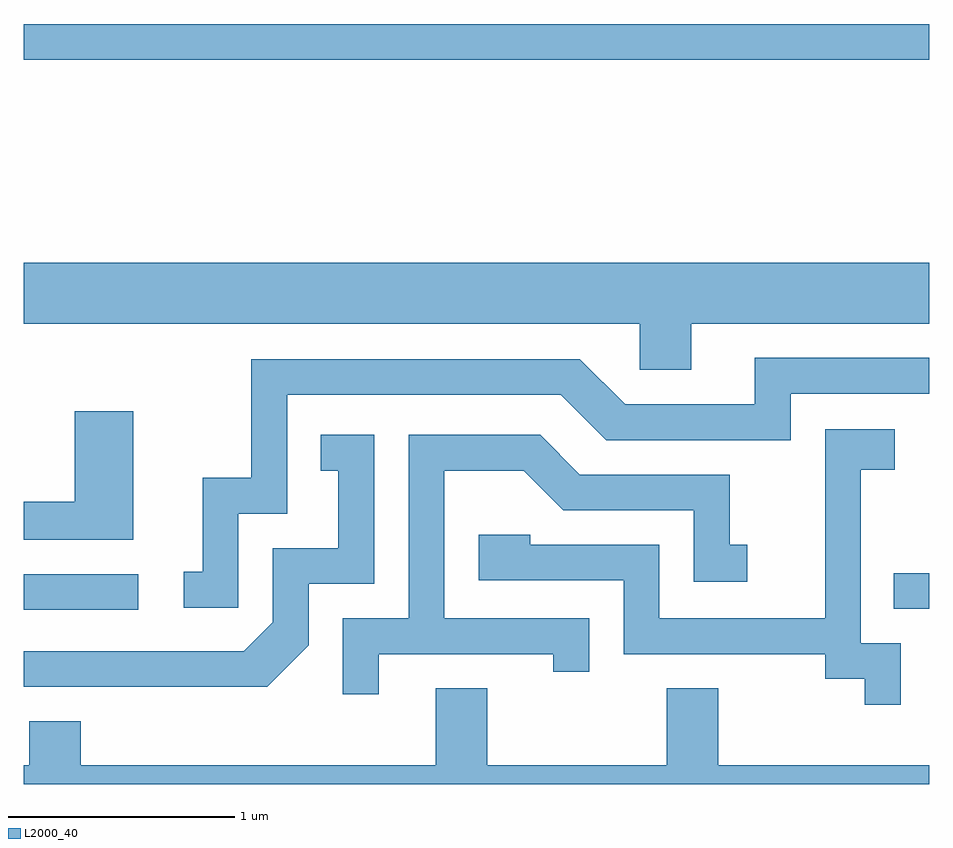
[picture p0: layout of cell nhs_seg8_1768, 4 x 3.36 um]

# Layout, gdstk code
import gdstk
lib = gdstk.Library(unit=1e-6, precision=1e-09)
def R(c, l, rs):  # rectangles x0, y0, x1, y1
    for r in rs: c.add(gdstk.rectangle(r[:2], r[2:], *l))
def P(c, l, *ps):  # polygons
    for p in ps: c.add(gdstk.Polygon(p, *l))
L2000_40 = (2000, 40)

nhs_seg8_1768 = lib.new_cell('nhs_seg8_1768')
R(nhs_seg8_1768, L2000_40, [(237.611,1875.111,238.118,1875.269), (241.453,1875.116,241.611,1875.274), (237.611,1877.541,241.611,1877.699)])
P(nhs_seg8_1768, L2000_40, [(240.559,1876.376),(241.611,1876.376),(241.611,1876.644),(237.611,1876.644),(237.611,1876.376),(240.331,1876.376),(240.331,1876.171),(240.559,1876.171)],
  [(238.559,1875.536),(238.774,1875.536),(238.774,1876.061),(239.984,1876.061),(240.184,1875.861),(240.999,1875.861),(240.999,1876.066),(241.611,1876.066),(241.611,1876.224),(240.841,1876.224),(240.841,1876.019),(240.267,1876.019),(240.067,1876.219),(238.616,1876.219),(238.616,1875.694),(238.401,1875.694),(238.401,1875.279),(238.318,1875.279),(238.318,1875.121),(238.559,1875.121)],
  [(238.094,1875.989),(237.836,1875.989),(237.836,1875.589),(237.611,1875.589),(237.611,1875.421),(238.094,1875.421)],
  [(241.484,1874.964),(241.309,1874.964),(241.309,1875.731),(241.459,1875.731),(241.459,1875.909),(241.151,1875.909),(241.151,1875.074),(240.419,1875.074),(240.419,1875.399),(239.849,1875.399),(239.849,1875.444),(239.621,1875.444),(239.621,1875.241),(240.261,1875.241),(240.261,1874.916),(241.151,1874.916),(241.151,1874.806),(241.326,1874.806),(241.326,1874.693),(241.484,1874.693)],
  [(239.179,1874.916),(239.951,1874.916),(239.951,1874.838),(240.109,1874.838),(240.109,1875.074),(239.469,1875.074),(239.469,1875.726),(239.819,1875.726),(239.994,1875.551),(240.571,1875.551),(240.571,1875.236),(240.808,1875.236),(240.808,1875.399),(240.729,1875.399),(240.729,1875.709),(240.067,1875.709),(239.892,1875.884),(239.311,1875.884),(239.311,1875.074),(239.021,1875.074),(239.021,1874.738),(239.179,1874.738)],
  [(238.869,1874.954),(238.869,1875.226),(239.159,1875.226),(239.159,1875.884),(238.923,1875.884),(238.923,1875.726),(239.001,1875.726),(239.001,1875.384),(238.711,1875.384),(238.711,1875.057),(238.584,1874.929),(237.611,1874.929),(237.611,1874.771),(238.687,1874.771)],
  [(241.611,1874.424),(240.679,1874.424),(240.679,1874.764),(240.451,1874.764),(240.451,1874.424),(239.659,1874.424),(239.659,1874.764),(239.431,1874.764),(239.431,1874.424),(237.864,1874.424),(237.864,1874.619),(237.636,1874.619),(237.636,1874.424),(237.611,1874.424),(237.611,1874.342),(241.611,1874.342)])

lib.write_gds('nhs_seg8_1768.gds')
